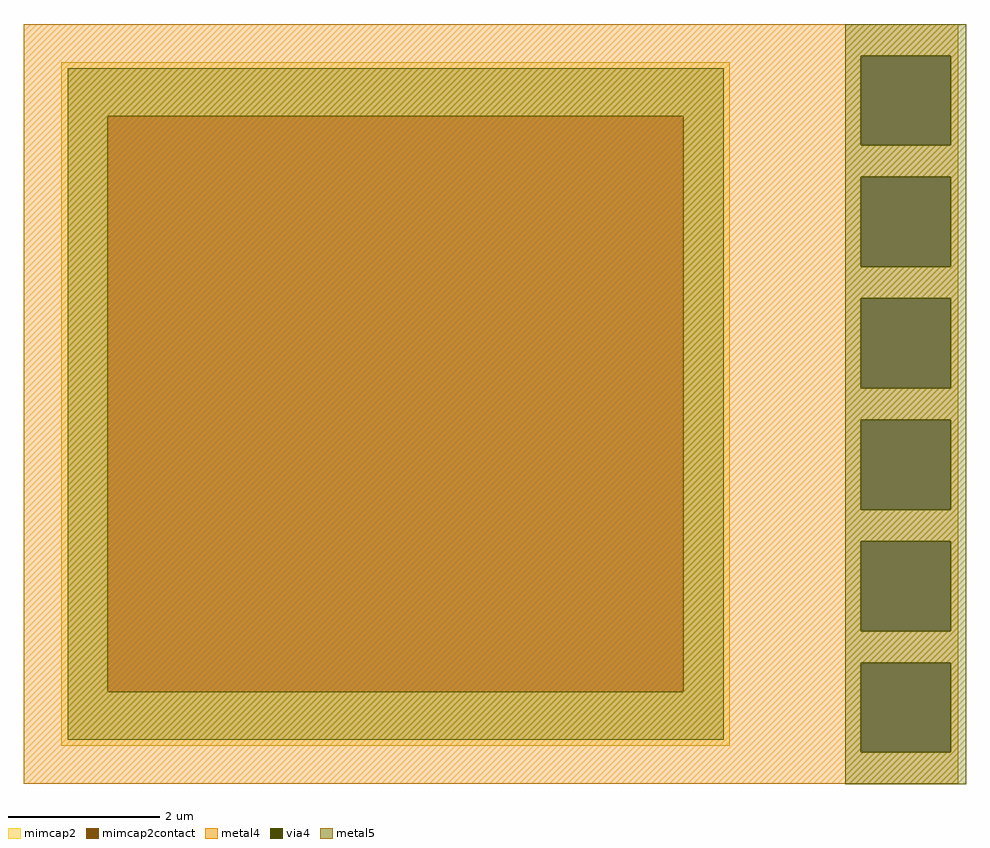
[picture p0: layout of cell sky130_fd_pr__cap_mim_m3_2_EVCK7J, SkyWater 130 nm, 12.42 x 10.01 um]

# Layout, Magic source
magic
tech sky130A
magscale 1 2
<< metal4 >>
rect -1231 918 1231 1000
rect -1231 682 975 918
rect 1211 682 1231 918
rect -1231 598 1231 682
rect -1231 362 975 598
rect 1211 362 1231 598
rect -1231 278 1231 362
rect -1231 42 975 278
rect 1211 42 1231 278
rect -1231 -42 1231 42
rect -1231 -278 975 -42
rect 1211 -278 1231 -42
rect -1231 -362 1231 -278
rect -1231 -598 975 -362
rect 1211 -598 1231 -362
rect -1231 -682 1231 -598
rect -1231 -918 975 -682
rect 1211 -918 1231 -682
rect -1231 -1000 1231 -918
<< via4 >>
rect 975 682 1211 918
rect 975 362 1211 598
rect 975 42 1211 278
rect 975 -278 1211 -42
rect 975 -598 1211 -362
rect 975 -918 1211 -682
<< mimcap2 >>
rect -1131 758 629 900
rect -1131 -758 -1009 758
rect 507 -758 629 758
rect -1131 -900 629 -758
<< mimcap2contact >>
rect -1009 -758 507 758
<< metal5 >>
rect 933 918 1253 1001
rect -1115 758 613 884
rect -1115 -758 -1009 758
rect 507 -758 613 758
rect -1115 -884 613 -758
rect 933 682 975 918
rect 1211 682 1253 918
rect 933 598 1253 682
rect 933 362 975 598
rect 1211 362 1253 598
rect 933 278 1253 362
rect 933 42 975 278
rect 1211 42 1253 278
rect 933 -42 1253 42
rect 933 -278 975 -42
rect 1211 -278 1253 -42
rect 933 -362 1253 -278
rect 933 -598 975 -362
rect 1211 -598 1253 -362
rect 933 -682 1253 -598
rect 933 -918 975 -682
rect 1211 -918 1253 -682
rect 933 -1001 1253 -918
<< properties >>
string FIXED_BBOX -1231 -1000 729 1000
<< end >>
